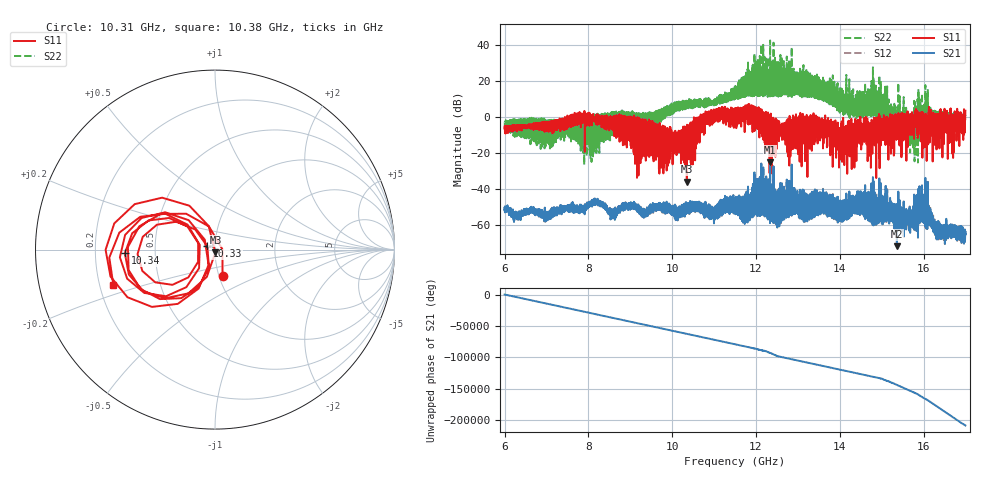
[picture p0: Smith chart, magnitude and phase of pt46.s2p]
#  HZ  S  RI  R  50.00
! Rohde & Schwarz Vector Network Analyzer
! Rohde-Schwarz,ZNA67-2Port,1332450062101215,3.01
! Created: UTC 10/16/2026, 9:26:46 AM
! freq[Hz]  re:S11  im:S11  re:S21  im:S21  re:S12  im:S12  re:S22  im:S22
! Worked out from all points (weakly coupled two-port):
!   11001 points, 6 GHz to 17 GHz, reference 50 ohm
!   highest |S21| = -25.12 dB at 12.34 GHz (marker M1); lowest = -71.8 dB at 15.37 GHz (marker M2)
!   lowest |S11| = -35.9 dB at 10.35 GHz (marker M3), VSWR 1.03, Z = 50.2 - j1.59 ohm
!   |S11| at or under -10 dB: 10.00561 GHz to 10.03668 GHz (31.07 MHz wide, 0.31 % of centre); 10.07995 GHz to 10.10862 GHz (28.67 MHz wide, 0.284 % of centre); 10.16057 GHz to 10.18751 GHz (26.95 MHz wide, 0.265 % of centre) (the widest 3 of 375)
!   |S22| runs from -26.6 to 42.6 dB; largest |S21 - S12| = 0.0046
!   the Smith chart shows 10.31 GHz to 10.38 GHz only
!   S11 on the Smith chart (normalised r, x): 10.31 GHz: 1.04, -0.31; 10.33 GHz: 0.92, +0.03; 10.34 GHz: 0.33, -0.02; 10.38 GHz: 0.26, -0.16
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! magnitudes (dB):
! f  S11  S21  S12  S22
! 6 GHz  -6.5  -51.6  -51.6  -6.7
! 7.834 GHz  1.3  -51.1  -51.0  -2.9
! 8.145 GHz  -0.1  -46.5  -46.4  -14.6
! 9.667 GHz  -4.9  -49.4  -49.6  2.8
! 10.31 GHz  -16.4  -52.4  -52.9  6.4
! 10.33 GHz  -26.6  -52.8  -53.0  4.5
! 10.34 GHz  -6.0  -51.7  -51.8  7.2
! 10.35 GHz  -35.9  -49.3  -49.5  6.9
! 10.38 GHz  -4.4  -50.6  -50.7  7.8
! 10.84 GHz  -3.7  -50.4  -50.2  9.7
! 11.5 GHz  4.7  -50.7  -50.6  11.5
! 11.86 GHz  -4.0  -54.4  -54.0  12.7
! 12.34 GHz  -14.6  -25.1  -25.2  42.6
! 13.33 GHz  -15.5  -53.1  -52.9  14.1
! 13.97 GHz  -6.3  -55.6  -56.0  4.3
! 15.17 GHz  -2.0  -48.7  -49.1  9.8
! 15.37 GHz  -3.2  -71.8  -71.6  -0.3
! 15.68 GHz  -1.3  -64.4  -64.2  -19.7
! 16.05 GHz  2.0  -55.7  -55.7  -4.5
! 16.38 GHz  -3.3  -66.6  -66.0  -0.3
! 16.9 GHz  -3.6  -62.6  -62.4  0.8
! 17 GHz  3.5  -65.3  -65.4  0.8
